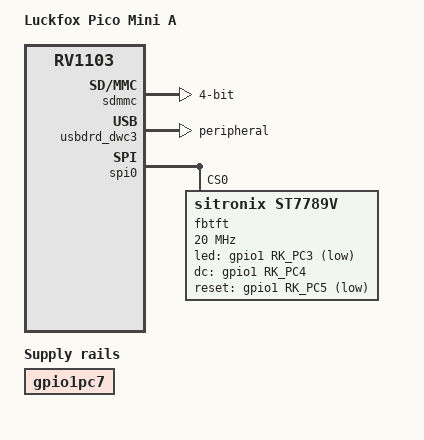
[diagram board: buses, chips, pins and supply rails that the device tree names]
// SPDX-License-Identifier: (GPL-2.0+ OR MIT)
/*
 * Copyright (c) 2023 Luckfox Electronics Co., Ltd.
 */

/dts-v1/;

#include "rv1103.dtsi"
#include "rv1106-evb.dtsi"
#include "rv1103-luckfox-pico-ipc.dtsi"

/ {
	model = "Luckfox Pico Mini A";
	compatible = "rockchip,rv1103g-38x38-ipc-v10", "rockchip,rv1103";
	gpio1pc7:gpio1pc7 {
        compatible = "regulator-fixed";
        pinctrl-names = "default";
        pinctrl-0 = <&gpio1_pc7>;
        regulator-name = "gpio1_pc7";
        regulator-always-on;
    };
};

/**********SDMMC**********/
&sdmmc {
	max-frequency = <50000000>;
	no-sdio;
	no-mmc;
	bus-width = <4>;
	cap-mmc-highspeed;
	cap-sd-highspeed;
	disable-wp;
	pinctrl-names = "default";
	pinctrl-0 = <&sdmmc0_clk &sdmmc0_cmd &sdmmc0_det &sdmmc0_bus4>;
	status = "okay";
};

/**********ETH**********/
&gmac {
	status = "disabled";
};

/**********USB**********/
&usbdrd_dwc3 {
	status = "okay";
	dr_mode = "peripheral";
};

/**********SPI**********/
/* SPI0_M0 */
&spi0 {
	status = "okay";
	pinctrl-0 = <&spi0m0_clk &spi0m0_mosi &spi0m0_cs0>;
	#address-cells = <1>;
	#size-cells = <0>;
	spidev@0 {
		compatible = "rockchip,spidev";
		reg = <0>;
		status = "disabled";
		spi-max-frequency = <50000000>;
	};
	fbtft@0 {
		compatible = "sitronix,st7789v";
		reg = <0>;
		spi-max-frequency = <20000000>;
		fps = <30>;
		buswidth = <8>;
		debug = <0x7>;
		led-gpios = <&gpio1 RK_PC3 GPIO_ACTIVE_LOW>;	//BL
		dc-gpios = <&gpio1 RK_PC4 GPIO_ACTIVE_HIGH>;	//DC
		reset-gpios = <&gpio1 RK_PC5 GPIO_ACTIVE_LOW>;	//RES
		status = "okay";
	};
};

/**********I2C**********/
/* I2C3_M1 */
&i2c3 {
	status = "disabled";
	clock-frequency = <100000>;
};

/**********UART**********/
/* UART3_M1 */
&uart3 {
	status = "disabled";
};

/* UART4_M1 */
&uart4 {
	status = "disabled";
};

/**********PWM**********/
/* PWM1_M0 */
&pwm1 {
	status = "disabled";
};

&pinctrl {
    gpio1-pc7 {
        gpio1_pc7:gpio1-pc7 {
            rockchip,pins = <1 RK_PC7 RK_FUNC_GPIO &pcfg_pull_up>;
        };
    };
};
